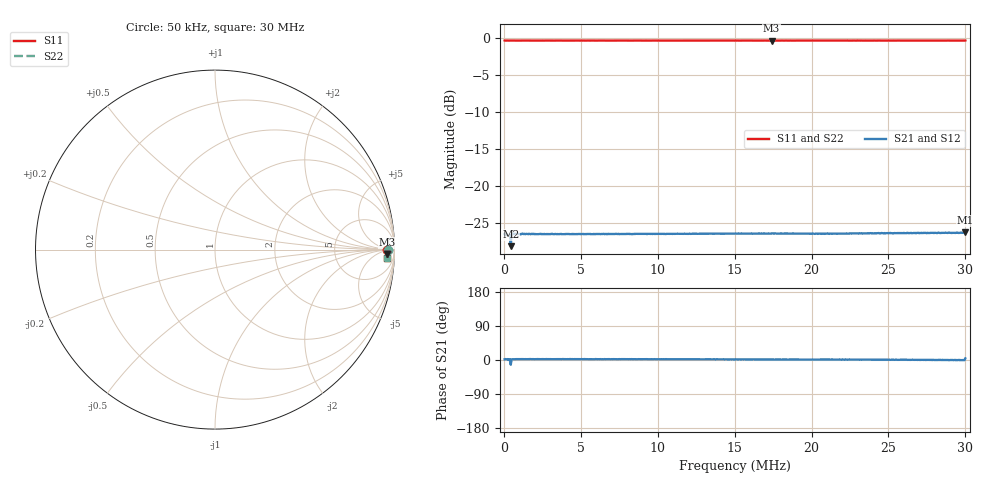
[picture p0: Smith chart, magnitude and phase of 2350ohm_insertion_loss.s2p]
# MHz S MA R 50
!  freq  S11  S21  S12  S22
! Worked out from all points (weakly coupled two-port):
!   600 points, 50 kHz to 30 MHz, reference 50 ohm
!   highest |S21| = -26.25 dB at 30 MHz (marker M1); lowest = -28.1 dB at 450 kHz (marker M2)
!   lowest |S11| = -0.4 dB at 17.4 MHz (marker M3), VSWR 47.01, Z = 1.66e+03 - j1.07e+03 ohm
!   |S11| at or under -10 dB: nowhere
!   |S22| runs from -0.4 to -0.3 dB; largest |S21 - S12| = 0.0023
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0.05  0.9611 -0.0  0.04742 1.9  0.04709 1.6  0.9617 -0.0
0.15  0.96 -0.0  0.04693 1.6  0.04618 1.6  0.9598 -0.0
0.25  0.9592 -0.0  0.04691 2.4  0.04673 2.1  0.9594 -0.1
0.3  0.9596 -0.0  0.04641 0.1  0.04797 2.2  0.9592 -0.0
0.45  0.9595 -0.0  0.0393 -12.4  0.03918 -12.6  0.9598 -0.1
0.5  0.9599 -0.0  0.04754 1.8  0.04748 1.8  0.9598 -0.1
0.6  0.9605 -0.0  0.04779 1.8  0.04766 1.8  0.9599 -0.1
0.65  0.9595 -0.1  0.04742 2.0  0.04741 1.9  0.9591 -0.1
0.95  0.9595 -0.1  0.0474 2.2  0.04741 2.1  0.9595 -0.1
1.35  0.9601 -0.1  0.04756 2.1  0.04727 2.3  0.9601 -0.1
1.65  0.9597 -0.1  0.04768 2.4  0.04797 2.3  0.9607 -0.1
2  0.9597 -0.2  0.04741 2.2  0.04747 2.3  0.9599 -0.2
2.85  0.9586 -0.3  0.04737 2.1  0.04732 2.4  0.9594 -0.3
5.05  0.9594 -0.5  0.04743 2.4  0.04737 2.4  0.9593 -0.5
10.05  0.9597 -1.0  0.04757 2.2  0.04756 2.2  0.9594 -0.9
15.05  0.9601 -1.4  0.04779 1.8  0.04778 1.6  0.9603 -1.4
17.4  0.9583 -1.6  0.04788 1.4  0.04784 1.4  0.9587 -1.6
20.05  0.9595 -1.8  0.04773 1.2  0.0478 1.0  0.96 -1.8
22.1  0.9602 -2.1  0.04784 1.1  0.04778 1.1  0.9593 -2.0
25.05  0.9598 -2.3  0.04803 0.9  0.04799 0.7  0.96 -2.3
29.75  0.9597 -2.7  0.04837 -0.3  0.04834 -0.0  0.96 -2.7
30  0.9598 -2.7  0.04868 4.2  0.04887 3.9  0.9586 -2.7
